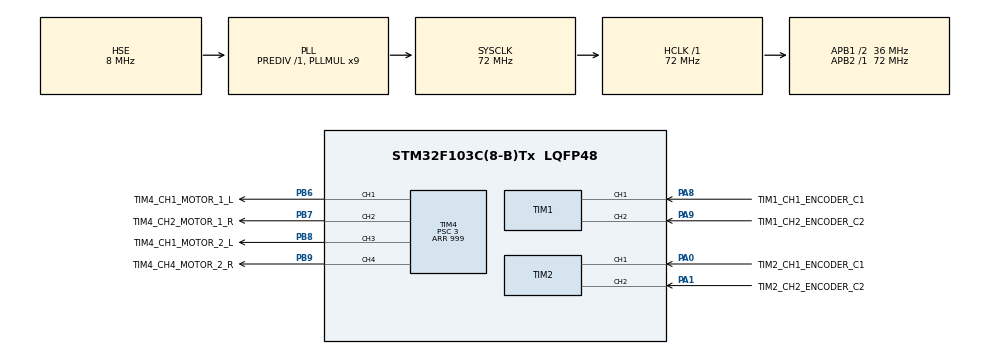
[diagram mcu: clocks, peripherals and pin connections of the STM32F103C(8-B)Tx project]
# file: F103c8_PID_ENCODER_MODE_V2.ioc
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Mcu.Family=STM32F1
RCC.PLLSourceVirtual=RCC_PLLSOURCE_HSE
TIM4.Channel-PWM\ Generation1\ CH1=TIM_CHANNEL_1
TIM4.AutoReloadPreload=TIM_AUTORELOAD_PRELOAD_ENABLE
PD1-OSC_OUT.Mode=HSE-External-Oscillator
PB9.GPIO_Label=TIM4_CH4_MOTOR_2_R
TIM3.AutoReloadPreload=TIM_AUTORELOAD_PRELOAD_ENABLE
TIM2.IC1Filter=10
SH.S_TIM4_CH4.0=TIM4_CH4,PWM Generation4 CH4
PA9.GPIO_Label=TIM1_CH2_ENCODER_C2
TIM1.EncoderMode=TIM_ENCODERMODE_TI12
PB6.GPIO_Label=TIM4_CH1_MOTOR_1_L
TIM2.EncoderMode=TIM_ENCODERMODE_TI12
PD0-OSC_IN.Signal=RCC_OSC_IN
RCC.APB1CLKDivider=RCC_HCLK_DIV2
RCC.SYSCLKSource=RCC_SYSCLKSOURCE_PLLCLK
ProjectManager.StackSize=0x400
PA0-WKUP.GPIO_Label=TIM2_CH1_ENCODER_C1
PA0-WKUP.Signal=S_TIM2_CH1_ETR
PD1-OSC_OUT.Signal=RCC_OSC_OUT
PA13.Signal=SYS_JTMS-SWDIO
PB8.GPIO_Label=TIM4_CH1_MOTOR_2_L
SH.S_TIM2_CH2.0=TIM2_CH2,Encoder_Interface
PA8.GPIO_Label=TIM1_CH1_ENCODER_C1
SH.S_TIM1_CH1.0=TIM1_CH1,Encoder_Interface
ProjectManager.TargetToolchain=STM32CubeIDE
SH.S_TIM4_CH3.0=TIM4_CH3,PWM Generation3 CH3
RCC.HCLKFreq_Value=72000000
RCC.APB2TimFreq_Value=72000000
TIM3.Period=9999
PA9.Signal=S_TIM1_CH2
PB6.Signal=S_TIM4_CH1
RCC.USBFreq_Value=72000000
TIM4.Prescaler=3
PA1.Signal=S_TIM2_CH2
RCC.AHBFreq_Value=72000000
PD0-OSC_IN.Mode=HSE-External-Oscillator
TIM4.Channel-PWM\ Generation3\ CH3=TIM_CHANNEL_3
board=custom
RCC.PLLMUL=RCC_PLL_MUL9
NVIC.TIM3_IRQn=true\:0\:0\:false\:false\:true\:true\:true
TIM4.Channel-PWM\ Generation2\ CH2=TIM_CHANNEL_2
RCC.APB2Freq_Value=72000000
SH.S_TIM1_CH2.0=TIM1_CH2,Encoder_Interface
PA14.Mode=Serial_Wire
TIM3.Prescaler=143
PA1.GPIO_Label=TIM2_CH2_ENCODER_C2
TIM1.IC2Filter=10
SH.S_TIM4_CH2.0=TIM4_CH2,PWM Generation2 CH2
PB7.Signal=S_TIM4_CH2
PA8.Signal=S_TIM1_CH1
TIM4.Period=999
PA13.Mode=Serial_Wire
Mcu.Name=STM32F103C(8-B)Tx
PB7.GPIO_Label=TIM4_CH2_MOTOR_1_R
RCC.SYSCLKFreq_VALUE=72000000
Mcu.Package=LQFP48
PB9.Signal=S_TIM4_CH4
TIM1.IC1Filter=10
SH.S_TIM2_CH1_ETR.0=TIM2_CH1,Encoder_Interface
PA14.Signal=SYS_JTCK-SWCLK
ProjectManager.HeapSize=0x200
VP_TIM4_VS_ClockSourceINT.Mode=Internal
NVIC.PriorityGroup=NVIC_PRIORITYGROUP_4
SH.S_TIM4_CH1.0=TIM4_CH1,PWM Generation1 CH1
RCC.APB1TimFreq_Value=72000000
PB8.Signal=S_TIM4_CH3
TIM4.Channel-PWM\ Generation4\ CH4=TIM_CHANNEL_4
RCC.APB1Freq_Value=36000000
VP_TIM3_VS_ClockSourceINT.Mode=Internal
TIM2.IC2Filter=10

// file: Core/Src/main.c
/* USER CODE BEGIN Header */
/**
  ******************************************************************************
  * @file           : main.c
  * @brief          : Main program body
  ******************************************************************************
  * @attention
  *
  * <h2><center>&copy; Copyright (c) 2023 STMicroelectronics.
  * All rights reserved.</center></h2>
  *
  * This software component is licensed by ST under BSD 3-Clause license,
  * the "License"; You may not use this file except in compliance with the
  * License. You may obtain a copy of the License at:
  *                        opensource.org/licenses/BSD-3-Clause
  *
  ******************************************************************************
  */
/* USER CODE END Header */
#include "main.h"
#include "tim.h"
#include "gpio.h"

/* USER CODE BEGIN Includes */

	#include "PID.h"
	#include <stdlib.h>

/* USER CODE END Includes */

/* USER CODE BEGIN PTD */

	PIDController MPID;

/* USER CODE END PTD */

/* USER CODE BEGIN PM */

	/* WITH TUA = 0.044 */

		/*

				#define MKp 1.92
				#define MKi 169.6

				#define MKp 2.06
				#define MKi 119.1

				#define MKp 1.83
				#define MKi 156.7

		*/

				#define MKp 7.92
				#define MKi 136.48

				#define MKd 0.0

/* USER CODE END PM */

/* USER CODE BEGIN PV */

		/* PID */

				#define pi 3.1415
				#define Motor1 0

				#define CPR 911  /* COUNT PER REVOTION */
				#define Sample_time 20 // MS

				uint16_t cnt[1];
				uint16_t Enc_count[1];

				uint16_t v;
				uint16_t count[1]; /* COUNT PULSE FOR ENCODER */
				uint16_t new_count[1];
				uint8_t count_state[1];
				uint16_t diff[1]; /* DIFFENCE BETWEEN COUNT AND NEW_COUNT IN A SAMPLE TIME  */
				uint16_t c;

				float speedM[1];
				float rdps[1];

				float Motor1_speed ;
				float V1 ; /* TARGET SPEED OF MOTOR 1 */
				float pwm_M1 ;

/* USER CODE END PV */

void SystemClock_Config(void);
/* USER CODE BEGIN PFP */

	/* MAP */

		float map(float Input, float Min_Input, float Max_Input, float Min_Output, float Max_Output) {
			return (float) ((Input - Min_Input) * (Max_Output - Min_Output) / (Max_Input - Min_Input) + Min_Output);
		}

	/* ENCODER MODE */

		float Motors_RPS(int j, float SampleTime, float N_round)
		{

			/* ENCODER MODE */

				new_count[j] = TIM1->CNT;
				count_state[j] = __HAL_TIM_IS_TIM_COUNTING_DOWN(&htim1);

				if (count_state[j])
					{
						if (new_count[j] <= count[j])
						{
							diff[j] = count[j] - new_count[j]; /* CHECK FOR COUNTER UNDERFLOW */
						}
						else
						{
							diff[j] = (65536 - new_count[j]) + count[j];
						}
						speedM[j] = (float)diff[j] * 1000.0f / (N_round * SampleTime)*-1;
					}
					else
					{
						if (new_count[j] >= count[j])
						{
							diff[j] = new_count[j] - count[j]; /* CHECK FOR COUNTER OVERFLOW */
						}
						else
						{
							diff[j] = (65536 - count[j]) + new_count[j];
						}
						speedM[j] = (float)diff[j] * 1000.0f / (N_round * SampleTime);
					}

					rdps[j] = -2.0f * pi * speedM[j];
					count[j] = new_count[j];

					return rdps[j];
		}

/* USER CODE END PFP */

int main(void)
{
  /* USER CODE BEGIN 1 */

		/* INNITAIL PARAMET PID */

			PID_Init(&MPID, 1);
			MPID.T = 0.02;		/* T = 10MS */
			MPID.limMax = 1000;
			MPID.limMin = -1000;
			MPID.limMaxInt = 1000;
			MPID.limMinInt = -1000;
			MPID.tau = 0;	/* FOR Kd */

  /* USER CODE END 1 */

  /* MCU Configuration--------------------------------------------------------*/

  /* Reset of all peripherals, Initializes the Flash interface and the Systick. */
  HAL_Init();

  /* Configure the system clock */
  SystemClock_Config();

  /* Initialize all configured peripherals */
  MX_GPIO_Init();
  MX_TIM1_Init();
  MX_TIM2_Init();
  MX_TIM3_Init();
  MX_TIM4_Init();
  /* USER CODE BEGIN 2 */

		/* TIMER ENCODER MODE */

			 HAL_TIM_Encoder_Start(&htim1, TIM_CHANNEL_ALL);
			 HAL_TIM_Encoder_Start(&htim2, TIM_CHANNEL_ALL);

		/* TIMER */

			HAL_TIM_Base_Start_IT(&htim3);

		/* TIMER 4 MOTOR */

			HAL_TIM_PWM_Start(&htim4, TIM_CHANNEL_1);
			HAL_TIM_PWM_Start(&htim4, TIM_CHANNEL_2);
			HAL_TIM_PWM_Start(&htim4, TIM_CHANNEL_3);
			HAL_TIM_PWM_Start(&htim4, TIM_CHANNEL_4);

  /* USER CODE END 2 */

  /* Infinite loop */
  while (1)
  {

  }
}

void SystemClock_Config(void)
{
  RCC_OscInitTypeDef RCC_OscInitStruct = {0};
  RCC_ClkInitTypeDef RCC_ClkInitStruct = {0};

  /** Initializes the RCC Oscillators according to the specified parameters
  * in the RCC_OscInitTypeDef structure.
  */
  RCC_OscInitStruct.OscillatorType = RCC_OSCILLATORTYPE_HSE;
  RCC_OscInitStruct.HSEState = RCC_HSE_ON;
  RCC_OscInitStruct.HSEPredivValue = RCC_HSE_PREDIV_DIV1;
  RCC_OscInitStruct.HSIState = RCC_HSI_ON;
  RCC_OscInitStruct.PLL.PLLState = RCC_PLL_ON;
  RCC_OscInitStruct.PLL.PLLSource = RCC_PLLSOURCE_HSE;
  RCC_OscInitStruct.PLL.PLLMUL = RCC_PLL_MUL9;
  if (HAL_RCC_OscConfig(&RCC_OscInitStruct) != HAL_OK)
  {
    Error_Handler();
  }
  /** Initializes the CPU, AHB and APB buses clocks
  */
  RCC_ClkInitStruct.ClockType = RCC_CLOCKTYPE_HCLK|RCC_CLOCKTYPE_SYSCLK
                              |RCC_CLOCKTYPE_PCLK1|RCC_CLOCKTYPE_PCLK2;
  RCC_ClkInitStruct.SYSCLKSource = RCC_SYSCLKSOURCE_PLLCLK;
  RCC_ClkInitStruct.AHBCLKDivider = RCC_SYSCLK_DIV1;
  RCC_ClkInitStruct.APB1CLKDivider = RCC_HCLK_DIV2;
  RCC_ClkInitStruct.APB2CLKDivider = RCC_HCLK_DIV1;

  if (HAL_RCC_ClockConfig(&RCC_ClkInitStruct, FLASH_LATENCY_2) != HAL_OK)
  {
    Error_Handler();
  }
}

/* USER CODE BEGIN 4 */

		void HAL_TIM_PeriodElapsedCallback(TIM_HandleTypeDef *htim) {
			if (htim->Instance == TIM3) {

				/* TEST SPEED MOTOR */

					/*

						Motor1_speed = Motors_RPS(Motor1, Sample_time, CPR);

						 TIM4->CCR1 = V1;
						 TIM4->CCR2 = 0;

					*/

				/* PID */

					/* PID NEED TO CHANGE FOR USING */

						pwm_M1 = PID(&MPID, V1, Motor1_speed, MKp, MKi, MKd, Motor1);

					/* MEASURMENT FEEDBACK SPEED */

						Motor1_speed = Motors_RPS(Motor1, Sample_time, CPR);

						if (V1 > 0) {
							TIM4->CCR1 = pwm_M1;
							TIM4->CCR2 = 0
									;
						}
						else if(V1 < 0) {
							TIM4->CCR1 = 0;
							TIM4->CCR2 = -1 * pwm_M1;
						}
						else
						{
							TIM4->CCR2 = 0;
							TIM4->CCR1 = 0;
						}
				}
		}

/* USER CODE END 4 */

void Error_Handler(void)
{
  __disable_irq();
  while (1)
  {
  }
}

/************************ (C) COPYRIGHT STMicroelectronics *****END OF FILE****/
